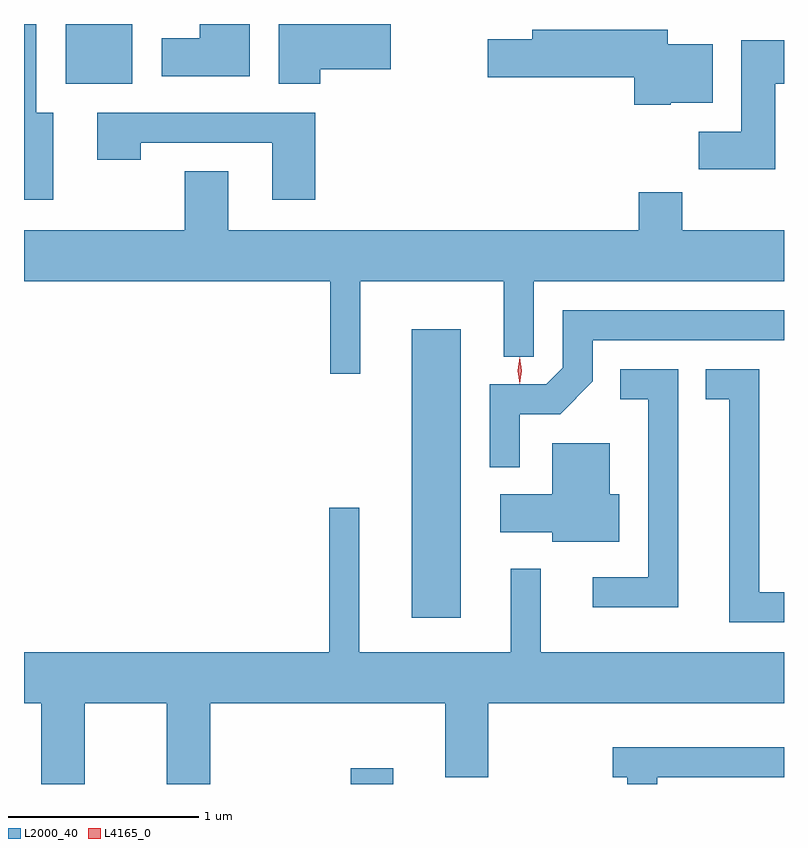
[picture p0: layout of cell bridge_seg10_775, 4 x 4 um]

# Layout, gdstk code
import gdstk
lib = gdstk.Library(unit=1e-6, precision=1e-09)
def R(c, l, rs):  # rectangles x0, y0, x1, y1
    for r in rs: c.add(gdstk.rectangle(r[:2], r[2:], *l))
def P(c, l, *ps):  # polygons
    for p in ps: c.add(gdstk.Polygon(p, *l))
L2000_40 = (2000, 40)
L4165_0 = (4165, 0)

bridge_seg10_775 = lib.new_cell('bridge_seg10_775')
R(bridge_seg10_775, L2000_40, [(503.516,2126.81,503.739,2126.894), (503.836,2127.686,504.094,2129.204), (502.016,2130.496,502.364,2130.81)])
P(bridge_seg10_775, L2000_40, [(501.949,2130.344),(501.859,2130.344),(501.859,2130.81),(501.795,2130.81),(501.795,2129.886),(501.949,2129.886)],
  [(502.984,2130.81),(502.721,2130.81),(502.721,2130.734),(502.521,2130.734),(502.521,2130.536),(502.984,2130.536)],
  [(503.354,2130.571),(503.724,2130.571),(503.724,2130.81),(503.136,2130.81),(503.136,2130.496),(503.354,2130.496)],
  [(505.2,2130.396),(505.419,2130.396),(505.419,2130.704),(505.184,2130.704),(505.184,2130.779),(504.471,2130.779),(504.471,2130.729),(504.236,2130.729),(504.236,2130.531),(505.006,2130.531),(505.006,2130.386),(505.2,2130.386)],
  [(505.749,2130.496),(505.795,2130.496),(505.795,2130.724),(505.571,2130.724),(505.571,2130.244),(505.346,2130.244),(505.346,2130.046),(505.749,2130.046)],
  [(503.329,2130.344),(502.181,2130.344),(502.181,2130.096),(502.409,2130.096),(502.409,2130.186),(503.101,2130.186),(503.101,2129.886),(503.329,2129.886)],
  [(503.564,2129.456),(504.321,2129.456),(504.321,2129.058),(504.479,2129.058),(504.479,2129.456),(505.795,2129.456),(505.795,2129.724),(505.259,2129.724),(505.259,2129.924),(505.031,2129.924),(505.031,2129.724),(502.869,2129.724),(502.869,2130.034),(502.641,2130.034),(502.641,2129.724),(501.795,2129.724),(501.795,2129.456),(503.406,2129.456),(503.406,2128.968),(503.564,2128.968)],
  [(504.404,2128.756),(504.617,2128.756),(504.789,2128.929),(504.789,2129.146),(505.795,2129.146),(505.795,2129.304),(504.631,2129.304),(504.631,2129.002),(504.544,2128.914),(504.246,2128.914),(504.246,2128.478),(504.404,2128.478)],
  [(505.239,2128.994),(504.933,2128.994),(504.933,2128.836),(505.081,2128.836),(505.081,2127.899),(504.788,2127.899),(504.788,2127.741),(505.239,2127.741)],
  [(505.795,2127.819),(505.664,2127.819),(505.664,2128.994),(505.383,2128.994),(505.383,2128.836),(505.506,2128.836),(505.506,2127.661),(505.795,2127.661)],
  [(504.929,2128.334),(504.879,2128.334),(504.879,2128.604),(504.576,2128.604),(504.576,2128.334),(504.301,2128.334),(504.301,2128.136),(504.576,2128.136),(504.576,2128.086),(504.929,2128.086)],
  [(502.114,2127.236),(502.546,2127.236),(502.546,2126.81),(502.774,2126.81),(502.774,2127.236),(504.011,2127.236),(504.011,2126.846),(504.239,2126.846),(504.239,2127.236),(505.795,2127.236),(505.795,2127.504),(504.514,2127.504),(504.514,2127.943),(504.356,2127.943),(504.356,2127.504),(503.559,2127.504),(503.559,2128.263),(503.401,2128.263),(503.401,2127.504),(501.795,2127.504),(501.795,2127.236),(501.886,2127.236),(501.886,2126.81),(502.114,2126.81)],
  [(505.129,2126.846),(505.795,2126.846),(505.795,2127.004),(504.893,2127.004),(504.893,2126.846),(504.971,2126.846),(504.971,2126.81),(505.129,2126.81)])
P(bridge_seg10_775, L4165_0, [(504.404,2128.917),(504.394,2128.986),(504.403,2129.055),(504.403,2129.056),(504.404,2129.055),(504.414,2128.986),(504.405,2128.917),(504.405,2128.917)],
  [(504.405,2128.919),(504.404,2128.92),(504.394,2128.986),(504.403,2129.052),(504.403,2129.052),(504.404,2129.052),(504.414,2128.986),(504.405,2128.92)])

lib.write_gds('bridge_seg10_775.gds')
